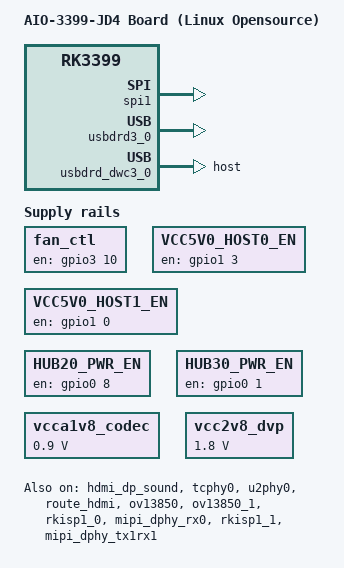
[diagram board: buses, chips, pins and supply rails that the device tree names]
/dts-v1/;

#include "rk3399-firefly-port.dtsi"
#include <dt-bindings/sensor-dev.h>

/ {
	model = "AIO-3399-JD4 Board (Linux Opensource)";
	compatible = "rockchip,rk3399-firefly", "rockchip,rk3399";

	/delete-property/ rt5640-sound;

	test-power {
		status = "okay";
	};

	fan_ctl: fan-ctl-regulator {
		compatible = "regulator-fixed";
		enable-active-high;
		regulator-always-on;
		regulator-boot-on;
		gpio = <&gpio3 10 GPIO_ACTIVE_HIGH>;
		pinctrl-names = "default";
		regulator-name = "fan_ctl";
		pinctrl-0 = <&fan_drv>;
	};

	VCC5V0_HOST0_EN: VCC5V0-HOST0-EN {
		compatible = "regulator-fixed";
		enable-active-high;
		regulator-always-on;
		regulator-boot-on;
		gpio = <&gpio1 3 GPIO_ACTIVE_HIGH>;
		pinctrl-names = "default";
		pinctrl-0 = <&vcc5v0_host0_en>;
		regulator-name = "vcc5v0_host0";
		status = "okay";
	};

	VCC5V0_HOST1_EN: VCC5V0-HOST1-EN {
		compatible = "regulator-fixed";
		enable-active-high;
		regulator-always-on;
		regulator-boot-on;
		gpio = <&gpio1 0 GPIO_ACTIVE_HIGH>;
		pinctrl-names = "default";
		pinctrl-0 = <&vcc5v0_host1_en>;
		regulator-name = "vcc5v0_host1";
		status = "okay";
	};

	HUB20_PWR_EN: HUB20-PWR-EN {
		compatible = "regulator-fixed";
		enable-active-high;
		regulator-always-on;
		regulator-boot-on;
		gpio = <&gpio0 8 GPIO_ACTIVE_HIGH>;
		pinctrl-names = "default";
		pinctrl-0 = <&hub20_pwr_en>;
		regulator-name = "vcc5v0_hub20";
		status = "okay";
	};

	HUB30_PWR_EN: HUB30-PWR-EN {
		compatible = "regulator-fixed";
		enable-active-high;
		regulator-always-on;
		regulator-boot-on;
		gpio = <&gpio0 1 GPIO_ACTIVE_HIGH>;
		pinctrl-names = "default";
		pinctrl-0 = <&hub30_pwr_en>;
		regulator-name = "vcc5v0_hub30";
		status = "okay";
	};
};

&gmac {
	tx_delay = <0x2F>;
	rx_delay = <0x1E>;
};

&hdmi_dp_sound {
	status = "okay";
};

&i2c2 {
	status = "disabled";
	i2c-scl-rising-time-ns = <300>;
	i2c-scl-falling-time-ns = <15>;

	sensor@4c {
		status = "disabled";
		compatible = "gs_mc3230";
		reg = <0x4c>;
		type = <SENSOR_TYPE_ACCEL>;
		irq_enable = <0>;
		poll_delay_ms = <30>;
		layout = <1>;
	};
};

&vcca1v8_codec {
	regulator-min-microvolt = <900000>;
	regulator-max-microvolt = <900000>;
};

&spi1 {
	dev-port = <0>;
    status = "okay";
	/delete-property/ spi_wk2xxx;
};

&vcc3v3_3g {
	/delete-property/ gpio;
};

&vcc3v3_pcie {
	/delete-property/ gpio;
};

&pcie0 {
	/delete-property/ ep-gpios;
};

&fiq_debugger {
	rockchip,baudrate = <115200>;  /* Only 115200 and 1500000 */
};


&rt5640 {
	status = "disabled";
};

&uart4 {
    status = "disabled";
};

&dp_in_vopb {
	status = "disabled";
};

&hdmi_in_vopl {
	status = "disabled";
};

&wdt {
	status = "disabled";
};

&io_domains {
	bt656-supply = <&vcc_3v0>;
};

&vcc2v8_dvp {
	regulator-min-microvolt = <1800000>;
	regulator-max-microvolt = <1800000>;
};

&vcca1v8_codec {
	regulator-min-microvolt = <900000>;
	regulator-max-microvolt = <900000>;
};

&pinctrl {
	pinctrl-names = "default";
	pinctrl-0 = <&host_hub_vcc>;

	host-hub-vcc {
		host_hub_vcc: host-hub-vcc {
			rockchip,pins =
				<2 4 RK_FUNC_GPIO &pcfg_output_high>,
				<4 29 RK_FUNC_GPIO &pcfg_output_high>;
		};
	};


	hub_pwr_en {
		// control VCC5V0_HOST3
		hub20_pwr_en: hub20-pwr-en {
			rockchip,pins =
				<0 8 RK_FUNC_GPIO &pcfg_pull_up>;
		};

		// control VCC5V0_HOST0
		hub30_pwr_en: hub30-pwr-en {
			rockchip,pins =
				<0 1 RK_FUNC_GPIO &pcfg_output_high>;
		};
	};

	vcc_host_en {
		// control VCC5V0_HOST3
		vcc5v0_host0_en: vcc5v0-host0-en {
			rockchip,pins =
				<1 3 RK_FUNC_GPIO &pcfg_output_high>;
		};

		// control VCC5V0_HOST0
		vcc5v0_host1_en: vcc5v0-host1-en {
			rockchip,pins =
				<1 0 RK_FUNC_GPIO &pcfg_output_high>;
		};
	};

	pcie {
		pcie_3g_drv: pcie-3g-drv {
			rockchip,pins =
				<2 6 RK_FUNC_GPIO &pcfg_pull_up>;
		};
	};

	vcc_sd {
		vcc_sd_h: vcc-sd-h {
			rockchip,pins =
				<4 30 RK_FUNC_GPIO &pcfg_pull_up>;
		};
	};

	fan-ctl {
        	fan_drv: fan-drv {
             		rockchip,pins = <3 10 RK_FUNC_GPIO &pcfg_pull_none>;
        };
    };


};

&fusb0 {
    status = "disabled";
};

&cdn_dp {
    status = "disabled";
};

&tcphy0 {
    /delete-property/ extcon;
    status = "okay";
};

&u2phy0 {
    status = "okay";
    /delete-property/ extcon;

    u2phy0_otg: otg-port {
        rockchip,vbus-always-on;
        vbus-5v-gpios = <&gpio1 3 GPIO_ACTIVE_HIGH>;
        status = "okay";
    };
};

&usbdrd3_0 {
    status = "okay";
    /delete-property/ extcon;
};

&usbdrd_dwc3_0 {
    dr_mode = "host";
};

&route_hdmi {
	status = "okay";
};

&rk808 {
     /delete-property/ pmic,stby-gpio;
     /delete-property/ pmic,hold-gpio;
};

&vcc_mipi {
	status = "okay";
};

&dvdd_1v2 {
	status = "okay";
};

&ov13850 {
	pwdn-gpios = <&gpio2 1 GPIO_ACTIVE_HIGH>;
	status = "okay";
};

&ov13850_1 {
	pwdn-gpios = <&gpio2 0 GPIO_ACTIVE_HIGH>;
	status = "okay";
};

&rkisp1_0 {
	status = "okay";
};

&mipi_dphy_rx0 {
	status = "okay";
};

&isp0_mmu {
	status = "okay";
};

&rkisp1_1 {
	status = "okay";
};

&mipi_dphy_tx1rx1 {
	status = "okay";
};

&isp1_mmu {
	status = "okay";
};
